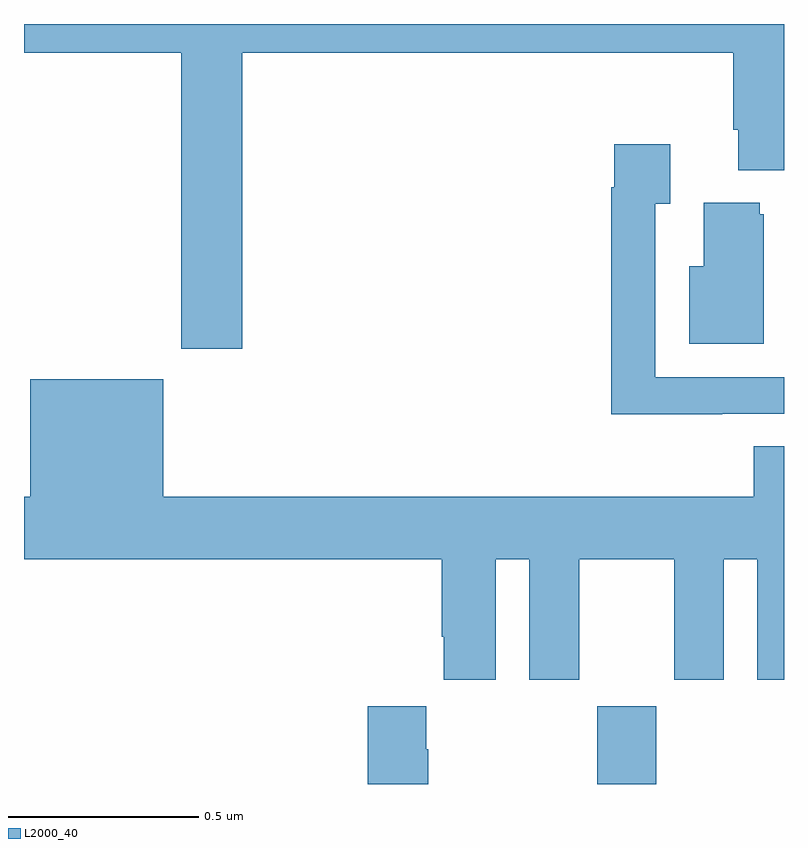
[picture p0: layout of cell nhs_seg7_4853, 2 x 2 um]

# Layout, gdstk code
import gdstk
lib = gdstk.Library(unit=1e-6, precision=1e-09)
def R(c, l, rs):  # rectangles x0, y0, x1, y1
    for r in rs: c.add(gdstk.rectangle(r[:2], r[2:], *l))
def P(c, l, *ps):  # polygons
    for p in ps: c.add(gdstk.Polygon(p, *l))
L2000_40 = (2000, 40)

nhs_seg7_4853 = lib.new_cell('nhs_seg7_4853')
R(nhs_seg7_4853, L2000_40, [(179.509,1024,179.664,1024.204)])
P(nhs_seg7_4853, L2000_40, [(178.574,1025.924),(179.867,1025.924),(179.867,1025.722),(179.879,1025.722),(179.879,1025.615),(180,1025.615),(180,1026),(178,1026),(178,1025.924),(178.414,1025.924),(178.414,1025.145),(178.574,1025.145)],
  [(179.837,1024.974),(180,1024.974),(180,1025.07),(179.661,1025.07),(179.661,1025.527),(179.701,1025.527),(179.701,1025.683),(179.553,1025.683),(179.553,1025.57),(179.545,1025.57),(179.545,1024.973),(179.837,1024.973)],
  [(179.947,1025.499),(179.936,1025.499),(179.936,1025.53),(179.789,1025.53),(179.789,1025.362),(179.75,1025.362),(179.75,1025.159),(179.947,1025.159)],
  [(179.242,1024.592),(179.33,1024.592),(179.33,1024.275),(179.461,1024.275),(179.461,1024.592),(179.711,1024.592),(179.711,1024.275),(179.842,1024.275),(179.842,1024.592),(179.93,1024.592),(179.93,1024.275),(180,1024.275),(180,1024.889),(179.921,1024.889),(179.921,1024.756),(178.366,1024.756),(178.366,1025.065),(178.016,1025.065),(178.016,1024.756),(178,1024.756),(178,1024.592),(179.099,1024.592),(179.099,1024.387),(179.105,1024.387),(179.105,1024.275),(179.242,1024.275)],
  [(179.064,1024.091),(179.059,1024.091),(179.059,1024.204),(178.904,1024.204),(178.904,1024),(179.064,1024)])

lib.write_gds('nhs_seg7_4853.gds')
